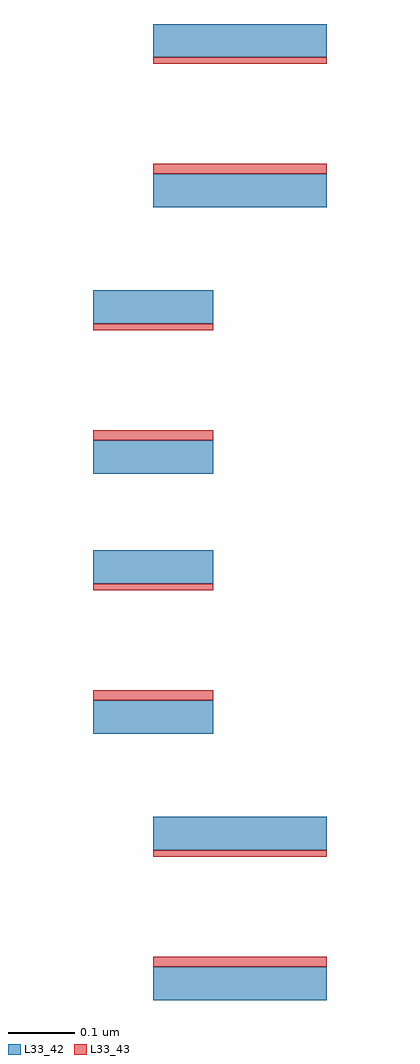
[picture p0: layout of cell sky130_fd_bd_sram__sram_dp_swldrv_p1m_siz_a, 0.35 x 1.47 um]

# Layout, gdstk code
import gdstk
lib = gdstk.Library(unit=1e-6, precision=1e-09)
def R(c, l, rs):  # rectangles x0, y0, x1, y1
    for r in rs: c.add(gdstk.rectangle(r[:2], r[2:], *l))
L33_42 = (33, 42)
L33_43 = (33, 43)

sky130_fd_bd_sram__sram_ = lib.new_cell('sky130_fd_bd_sram__sram_dp_swldrv_opt1_poly_siz_optc')
R(sky130_fd_bd_sram__sram_, L33_42, [(-0.18,0.01,0,0.06)])
R(sky130_fd_bd_sram__sram_, L33_43, [(-0.18,0,0,0.01)])

c_sky130_fd_bd_sram__sram_ = lib.new_cell('sky130_fd_bd_sram__sram_dp_swldrv_opt1_poly_siz_optd')
R(c_sky130_fd_bd_sram__sram_, L33_42, [(-0.18,-0.065,0,-0.015)])
R(c_sky130_fd_bd_sram__sram_, L33_43, [(-0.18,-0.015,0,0)])

c_sky130_fd_bd_sram__sram__ = lib.new_cell('sky130_fd_bd_sram__sram_dp_swldrv_opt1_poly_siz_opta')
R(c_sky130_fd_bd_sram__sram__, L33_42, [(0,0.01,0.26,0.06)])
R(c_sky130_fd_bd_sram__sram__, L33_43, [(0,0,0.26,0.01)])

c_sky130_fd_bd_sram__sram___ = lib.new_cell('sky130_fd_bd_sram__sram_dp_swldrv_opt1_poly_siz_optb')
R(c_sky130_fd_bd_sram__sram___, L33_42, [(0,-0.065,0.26,-0.015)])
R(c_sky130_fd_bd_sram__sram___, L33_43, [(0,-0.015,0.26,0)])

c_sky130_fd_bd_sram__sram____ = lib.new_cell('sky130_fd_bd_sram__sram_dp_swldrv_p1m_siz_a')
c_sky130_fd_bd_sram__sram____.add(gdstk.Reference(sky130_fd_bd_sram__sram_, (-0.17,0.665)))
c_sky130_fd_bd_sram__sram____.add(gdstk.Reference(sky130_fd_bd_sram__sram_, (-0.17,1.055)))
c_sky130_fd_bd_sram__sram____.add(gdstk.Reference(c_sky130_fd_bd_sram__sram_, (-0.17,0.515)))
c_sky130_fd_bd_sram__sram____.add(gdstk.Reference(c_sky130_fd_bd_sram__sram_, (-0.17,0.905)))
c_sky130_fd_bd_sram__sram____.add(gdstk.Reference(c_sky130_fd_bd_sram__sram__, (-0.26,0.265)))
c_sky130_fd_bd_sram__sram____.add(gdstk.Reference(c_sky130_fd_bd_sram__sram__, (-0.26,1.455)))
c_sky130_fd_bd_sram__sram____.add(gdstk.Reference(c_sky130_fd_bd_sram__sram___, (-0.26,1.305)))
c_sky130_fd_bd_sram__sram____.add(gdstk.Reference(c_sky130_fd_bd_sram__sram___, (-0.26,0.115)))

lib.write_gds('sky130_fd_bd_sram__sram_dp_swldrv_p1m_siz_a.gds')
